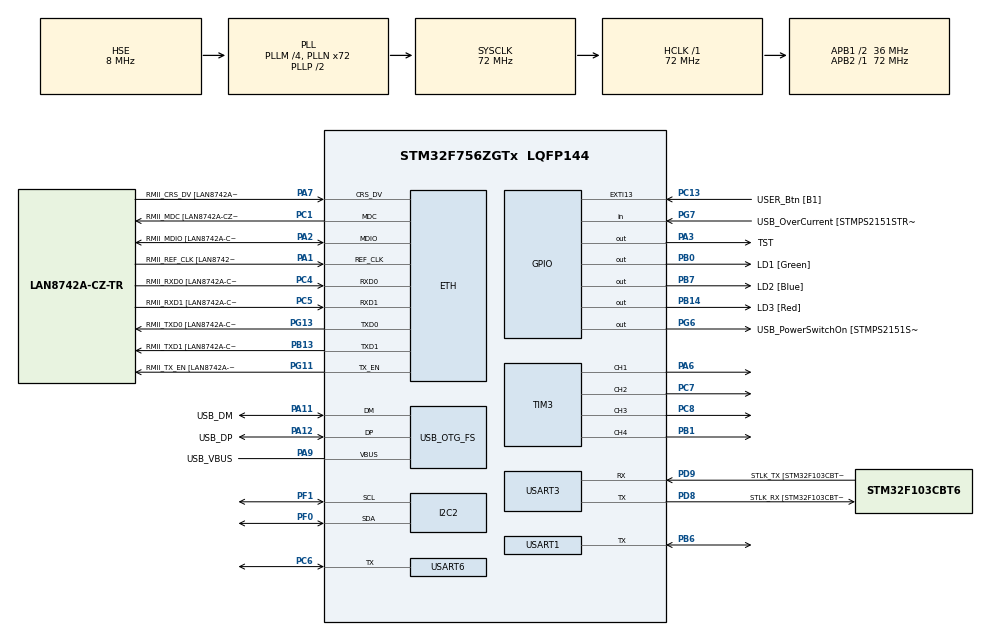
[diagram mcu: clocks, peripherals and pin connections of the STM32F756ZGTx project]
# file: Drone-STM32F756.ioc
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Dma.Request0=TIM3_CH1/TRIG
Dma.Request1=TIM3_CH2
Dma.Request2=TIM3_CH3
Dma.Request3=TIM3_CH4/UP
Dma.Request4=USART6_RX
Dma.Request5=USART6_TX
Dma.Request6=USART1_RX
Dma.Request7=USART1_TX
Dma.TIM3_CH1/TRIG.0.Direction=DMA_MEMORY_TO_PERIPH
Dma.TIM3_CH1/TRIG.0.FIFOMode=DMA_FIFOMODE_ENABLE
Dma.TIM3_CH1/TRIG.0.FIFOThreshold=DMA_FIFO_THRESHOLD_1QUARTERFULL
Dma.TIM3_CH1/TRIG.0.Instance=DMA1_Stream4
Dma.TIM3_CH1/TRIG.0.MemBurst=DMA_MBURST_SINGLE
Dma.TIM3_CH1/TRIG.0.MemDataAlignment=DMA_MDATAALIGN_WORD
Dma.TIM3_CH1/TRIG.0.MemInc=DMA_MINC_ENABLE
Dma.TIM3_CH1/TRIG.0.Mode=DMA_NORMAL
Dma.TIM3_CH1/TRIG.0.PeriphBurst=DMA_PBURST_SINGLE
Dma.TIM3_CH1/TRIG.0.PeriphDataAlignment=DMA_PDATAALIGN_WORD
Dma.TIM3_CH1/TRIG.0.PeriphInc=DMA_PINC_DISABLE
Dma.TIM3_CH1/TRIG.0.Priority=DMA_PRIORITY_LOW
Dma.TIM3_CH2.1.Direction=DMA_MEMORY_TO_PERIPH
Dma.TIM3_CH2.1.FIFOMode=DMA_FIFOMODE_ENABLE
Dma.TIM3_CH2.1.FIFOThreshold=DMA_FIFO_THRESHOLD_1QUARTERFULL
Dma.TIM3_CH2.1.Instance=DMA1_Stream5
Dma.TIM3_CH2.1.MemBurst=DMA_MBURST_SINGLE
Dma.TIM3_CH2.1.MemDataAlignment=DMA_MDATAALIGN_WORD
Dma.TIM3_CH2.1.MemInc=DMA_MINC_ENABLE
Dma.TIM3_CH2.1.Mode=DMA_NORMAL
Dma.TIM3_CH2.1.PeriphBurst=DMA_PBURST_SINGLE
Dma.TIM3_CH2.1.PeriphDataAlignment=DMA_PDATAALIGN_WORD
Dma.TIM3_CH2.1.PeriphInc=DMA_PINC_DISABLE
Dma.TIM3_CH2.1.Priority=DMA_PRIORITY_LOW
Dma.TIM3_CH3.2.Direction=DMA_MEMORY_TO_PERIPH
Dma.TIM3_CH3.2.FIFOMode=DMA_FIFOMODE_ENABLE
Dma.TIM3_CH3.2.FIFOThreshold=DMA_FIFO_THRESHOLD_1QUARTERFULL
Dma.TIM3_CH3.2.Instance=DMA1_Stream7
Dma.TIM3_CH3.2.MemBurst=DMA_MBURST_SINGLE
Dma.TIM3_CH3.2.MemDataAlignment=DMA_MDATAALIGN_WORD
Dma.TIM3_CH3.2.MemInc=DMA_MINC_ENABLE
Dma.TIM3_CH3.2.Mode=DMA_NORMAL
Dma.TIM3_CH3.2.PeriphBurst=DMA_PBURST_SINGLE
Dma.TIM3_CH3.2.PeriphDataAlignment=DMA_PDATAALIGN_WORD
Dma.TIM3_CH3.2.PeriphInc=DMA_PINC_DISABLE
Dma.TIM3_CH3.2.Priority=DMA_PRIORITY_LOW
Dma.TIM3_CH4/UP.3.Direction=DMA_MEMORY_TO_PERIPH
Dma.TIM3_CH4/UP.3.FIFOMode=DMA_FIFOMODE_ENABLE
Dma.TIM3_CH4/UP.3.FIFOThreshold=DMA_FIFO_THRESHOLD_1QUARTERFULL
Dma.TIM3_CH4/UP.3.Instance=DMA1_Stream2
Dma.TIM3_CH4/UP.3.MemBurst=DMA_MBURST_SINGLE
Dma.TIM3_CH4/UP.3.MemDataAlignment=DMA_MDATAALIGN_WORD
Dma.TIM3_CH4/UP.3.MemInc=DMA_MINC_ENABLE
Dma.TIM3_CH4/UP.3.Mode=DMA_NORMAL
Dma.TIM3_CH4/UP.3.PeriphBurst=DMA_PBURST_SINGLE
Dma.TIM3_CH4/UP.3.PeriphDataAlignment=DMA_PDATAALIGN_WORD
Dma.TIM3_CH4/UP.3.PeriphInc=DMA_PINC_DISABLE
Dma.TIM3_CH4/UP.3.Priority=DMA_PRIORITY_LOW
Dma.USART1_RX.6.Direction=DMA_PERIPH_TO_MEMORY
Dma.USART1_RX.6.FIFOMode=DMA_FIFOMODE_DISABLE
Dma.USART1_RX.6.Instance=DMA2_Stream2
Dma.USART1_RX.6.MemDataAlignment=DMA_MDATAALIGN_BYTE
Dma.USART1_RX.6.MemInc=DMA_MINC_ENABLE
Dma.USART1_RX.6.Mode=DMA_CIRCULAR
Dma.USART1_RX.6.PeriphDataAlignment=DMA_PDATAALIGN_BYTE
Dma.USART1_RX.6.PeriphInc=DMA_PINC_DISABLE
Dma.USART1_RX.6.Priority=DMA_PRIORITY_MEDIUM
Dma.USART1_TX.7.Direction=DMA_MEMORY_TO_PERIPH
Dma.USART1_TX.7.FIFOMode=DMA_FIFOMODE_DISABLE
Dma.USART1_TX.7.Instance=DMA2_Stream7
Dma.USART1_TX.7.MemDataAlignment=DMA_MDATAALIGN_BYTE
Dma.USART1_TX.7.MemInc=DMA_MINC_ENABLE
Dma.USART1_TX.7.Mode=DMA_NORMAL
Dma.USART1_TX.7.PeriphDataAlignment=DMA_PDATAALIGN_BYTE
Dma.USART1_TX.7.PeriphInc=DMA_PINC_DISABLE
Dma.USART1_TX.7.Priority=DMA_PRIORITY_MEDIUM
Dma.USART6_RX.4.Direction=DMA_PERIPH_TO_MEMORY
Dma.USART6_RX.4.FIFOMode=DMA_FIFOMODE_DISABLE
Dma.USART6_RX.4.Instance=DMA2_Stream1
Dma.USART6_RX.4.MemDataAlignment=DMA_MDATAALIGN_BYTE
Dma.USART6_RX.4.MemInc=DMA_MINC_ENABLE
Dma.USART6_RX.4.Mode=DMA_CIRCULAR
Dma.USART6_RX.4.PeriphDataAlignment=DMA_PDATAALIGN_BYTE
Dma.USART6_RX.4.PeriphInc=DMA_PINC_DISABLE
Dma.USART6_RX.4.Priority=DMA_PRIORITY_MEDIUM
Dma.USART6_TX.5.Direction=DMA_MEMORY_TO_PERIPH
Dma.USART6_TX.5.FIFOMode=DMA_FIFOMODE_DISABLE
Dma.USART6_TX.5.Instance=DMA2_Stream6
Dma.USART6_TX.5.MemDataAlignment=DMA_MDATAALIGN_BYTE
Dma.USART6_TX.5.MemInc=DMA_MINC_ENABLE
Dma.USART6_TX.5.Mode=DMA_CIRCULAR
Dma.USART6_TX.5.PeriphDataAlignment=DMA_PDATAALIGN_BYTE
Dma.USART6_TX.5.PeriphInc=DMA_PINC_DISABLE
Dma.USART6_TX.5.Priority=DMA_PRIORITY_MEDIUM
ETH.MediaInterface=HAL_ETH_RMII_MODE
ETH.PHY_Name=LAN8742A_PHY_ADDRESS
ETH.PHY_Value=0
ETH.PhyAddress=0
FREERTOS.Queues01=myQueue01,16,MSGQUEUE_OBJ_t,0,Dynamic,NULL,NULL;myQueue02,16,MSGQUEUE_OBJ_t,0,Dynamic,NULL,NULL
FREERTOS.Tasks01=defaultTask,8,128,StartDefaultTask,Default,NULL,Dynamic,NULL,NULL;fsIA6Task,24,128,StartFSIA6Task,Default,NULL,Dynamic,NULL,NULL;fsIA6TelemetryT,8,128,StartFSIA6TelemetryTask,Default,NULL,Dynamic,NULL,NULL
FREERTOS.configUSE_NEWLIB_REENTRANT=1
FREERTOS.configUSE_PREEMPTION=1
I2C2.Timing=0x00808CD2
Mcu.Family=STM32F7
Mcu.Name=STM32F756ZGTx
Mcu.Package=LQFP144
NVIC.DMA1_Stream2_IRQn=true\:5\:0\:false\:false\:true\:true\:false\:true\:true
NVIC.DMA1_Stream4_IRQn=true\:5\:0\:false\:false\:true\:true\:false\:true\:true
NVIC.DMA1_Stream5_IRQn=true\:5\:0\:false\:false\:true\:true\:false\:true\:true
NVIC.DMA1_Stream7_IRQn=true\:5\:0\:false\:false\:true\:true\:false\:true\:true
NVIC.DMA2_Stream1_IRQn=true\:5\:0\:false\:false\:true\:true\:false\:true\:true
NVIC.DMA2_Stream2_IRQn=true\:5\:0\:false\:false\:true\:true\:false\:true\:true
NVIC.DMA2_Stream6_IRQn=true\:5\:0\:false\:false\:true\:true\:false\:true\:true
NVIC.DMA2_Stream7_IRQn=true\:5\:0\:false\:false\:true\:true\:false\:true\:true
NVIC.OTG_FS_IRQn=true\:5\:0\:false\:false\:true\:true\:false\:true\:true
NVIC.PriorityGroup=NVIC_PRIORITYGROUP_4
NVIC.TIM6_DAC_IRQn=true\:1\:0\:true\:false\:true\:false\:false\:true\:true
NVIC.TimeBase=TIM6_DAC_IRQn
NVIC.TimeBaseIP=TIM6
NVIC.USART1_IRQn=true\:5\:0\:false\:false\:true\:true\:true\:true\:true
PA1.GPIO_Label=RMII_REF_CLK [LAN8742A-CZ-TR_REFCLK0]
PA1.Mode=RMII
PA1.Signal=ETH_REF_CLK
PA10.GPIO_Label=USB_ID
PA10.Signal=USB_OTG_FS_ID
PA11.GPIO_Label=USB_DM
PA11.Mode=Device_Only
PA11.Signal=USB_OTG_FS_DM
PA12.GPIO_Label=USB_DP
PA12.Mode=Device_Only
PA12.Signal=USB_OTG_FS_DP
PA13.GPIO_Label=TMS
PA13.Mode=Serial_Wire
PA13.Signal=SYS_JTMS-SWDIO
PA14.GPIO_Label=TCK
PA14.Mode=Serial_Wire
PA14.Signal=SYS_JTCK-SWCLK
PA2.GPIO_Label=RMII_MDIO [LAN8742A-CZ-TR_MDIO]
PA2.Mode=RMII
PA2.Signal=ETH_MDIO
PA3.GPIO_Label=TST
PA3.GPIO_Speed=GPIO_SPEED_FREQ_LOW
PA3.PinState=GPIO_PIN_SET
PA3.Signal=GPIO_Output
PA6.Signal=S_TIM3_CH1
PA7.GPIO_Label=RMII_CRS_DV [LAN8742A-CZ-TR_CRS_DV]
PA7.Mode=RMII
PA7.Signal=ETH_CRS_DV
PA8.GPIO_Label=USB_SOF [TP1]
PA8.Signal=USB_OTG_FS_SOF
PA9.GPIO_Label=USB_VBUS
PA9.Mode=Activate_VBUS
PA9.Signal=USB_OTG_FS_VBUS
PB0.GPIO_Label=LD1 [Green]
PB0.Signal=GPIO_Output
PB1.Signal=S_TIM3_CH4
PB13.GPIO_Label=RMII_TXD1 [LAN8742A-CZ-TR_TXD1]
PB13.Mode=RMII
PB13.Signal=ETH_TXD1
PB14.GPIO_Label=LD3 [Red]
PB14.Signal=GPIO_Output
PB3.GPIO_Label=SW0
PB3.Signal=SYS_JTDO-SWO
PB6.GPIO_PuPd=GPIO_NOPULL
PB6.Mode=Half_duplex(single_wire_mode)
PB6.Signal=USART1_TX
PB7.GPIO_Label=LD2 [Blue]
PB7.Signal=GPIO_Output
PC1.GPIO_Label=RMII_MDC [LAN8742A-CZ-TR_MDC]
PC1.Mode=RMII
PC1.Signal=ETH_MDC
PC13.GPIO_Label=USER_Btn [B1]
PC13.Signal=GPXTI13
PC14/OSC32_IN.Mode=LSE-External-Oscillator
PC14/OSC32_IN.Signal=RCC_OSC32_IN
PC15/OSC32_OUT.Mode=LSE-External-Oscillator
PC15/OSC32_OUT.Signal=RCC_OSC32_OUT
PC4.GPIO_Label=RMII_RXD0 [LAN8742A-CZ-TR_RXD0]
PC4.Mode=RMII
PC4.Signal=ETH_RXD0
PC5.GPIO_Label=RMII_RXD1 [LAN8742A-CZ-TR_RXD1]
PC5.Mode=RMII
PC5.Signal=ETH_RXD1
PC6.GPIO_PuPd=GPIO_NOPULL
PC6.Mode=Half_duplex(single_wire_mode)
PC6.Signal=USART6_TX
PC7.Signal=S_TIM3_CH2
PC8.Signal=S_TIM3_CH3
PD8.GPIO_Label=STLK_RX [STM32F103CBT6_PA3]
PD8.Mode=Asynchronous
PD8.Signal=USART3_TX
PD9.GPIO_Label=STLK_TX [STM32F103CBT6_PA2]
PD9.Mode=Asynchronous
PD9.Signal=USART3_RX
PF0.Mode=I2C
PF0.Signal=I2C2_SDA
PF1.Mode=I2C
PF1.Signal=I2C2_SCL
PG11.GPIO_Label=RMII_TX_EN [LAN8742A-CZ-TR_TXEN]
PG11.Mode=RMII
PG11.Signal=ETH_TX_EN
PG13.GPIO_Label=RMII_TXD0 [LAN8742A-CZ-TR_TXD0]
PG13.Mode=RMII
PG13.Signal=ETH_TXD0
PG6.GPIO_Label=USB_PowerSwitchOn [STMPS2151STR_EN]
PG6.Signal=GPIO_Output
PG7.GPIO_Label=USB_OverCurrent [STMPS2151STR_FAULT]
PG7.Signal=GPIO_Input
PH0/OSC_IN.GPIO_Label=MCO [STM32F103CBT6_PA8]
PH0/OSC_IN.Mode=HSE-External-Clock-Source
PH0/OSC_IN.Signal=RCC_OSC_IN
PH1/OSC_OUT.Mode=HSE-External-Clock-Source
PH1/OSC_OUT.Signal=RCC_OSC_OUT
ProjectManager.HeapSize=0x200
ProjectManager.StackSize=0x400
ProjectManager.TargetToolchain=STM32CubeIDE
RCC.48MHZClocksFreq_Value=24000000
RCC.AHBFreq_Value=72000000
RCC.APB1CLKDivider=RCC_HCLK_DIV2
RCC.APB1Freq_Value=36000000
RCC.APB1TimFreq_Value=72000000
RCC.APB2Freq_Value=72000000
RCC.APB2TimFreq_Value=72000000
RCC.CortexFreq_Value=72000000
RCC.HCLKFreq_Value=72000000
RCC.HSE_VALUE=8000000
RCC.HSI_VALUE=16000000
RCC.PLLM=4
RCC.PLLMUL=RCC_PLL_MUL9
RCC.PLLN=72
RCC.PLLQ=3
RCC.PRESCALERUSB=RCC_USBCLKSOURCE_PLL_DIV1_5
RCC.SYSCLKFreq_VALUE=72000000
RCC.SYSCLKSource=RCC_SYSCLKSOURCE_PLLCLK
RCC.SYSCLKSourceVirtual=RCC_SYSCLKSOURCE_PLLCLK
RCC.USBFreq_Value=48000000
RCC.VCOOutputFreq_Value=144000000
SH.S_TIM3_CH1.0=TIM3_CH1,PWM Generation1 CH1
SH.S_TIM3_CH2.0=TIM3_CH2,PWM Generation2 CH2
SH.S_TIM3_CH3.0=TIM3_CH3,PWM Generation3 CH3
SH.S_TIM3_CH4.0=TIM3_CH4,PWM Generation4 CH4
TIM3.Channel-PWM\ Generation1\ CH1=TIM_CHANNEL_1
TIM3.Channel-PWM\ Generation2\ CH2=TIM_CHANNEL_2
TIM3.Channel-PWM\ Generation3\ CH3=TIM_CHANNEL_3
TIM3.Channel-PWM\ Generation4\ CH4=TIM_CHANNEL_4
USART1.DMADisableonRxErrorParam=ADVFEATURE_DMA_ENABLEONRXERROR
USART1.OverrunDisableParam=ADVFEATURE_OVERRUN_ENABLE
USART1.VirtualMode-Half_duplex(single_wire_mode)=VM_ASYNC
USART3.VirtualMode-Asynchronous=VM_ASYNC
USART6.OverrunDisableParam=ADVFEATURE_OVERRUN_ENABLE
USART6.VirtualMode-Half_duplex(single_wire_mode)=VM_ASYNC
USB_DEVICE.CLASS_NAME_FS=CDC
USB_DEVICE.VirtualMode-CDC_FS=Cdc
USB_DEVICE.VirtualModeFS=Cdc_FS
USB_OTG_FS.VirtualMode=Device_Only
VP_FREERTOS_VS_CMSIS_V2.Mode=CMSIS_V2
VP_SYS_VS_tim6.Mode=TIM6
VP_USB_DEVICE_VS_USB_DEVICE_CDC_FS.Mode=CDC_FS
board=NUCLEO-F756ZG

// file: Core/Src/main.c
/* USER CODE BEGIN Header */
/**
  ******************************************************************************
  * @file           : main.c
  * @brief          : Main program body
  ******************************************************************************
  * @attention
  *
  * Copyright (c) 2024 STMicroelectronics.
  * All rights reserved.
  *
  * This software is licensed under terms that can be found in the LICENSE file
  * in the root directory of this software component.
  * If no LICENSE file comes with this software, it is provided AS-IS.
  *
  ******************************************************************************
  */
/* USER CODE END Header */
#include "main.h"
#include "cmsis_os.h"
#include "dma.h"
#include "eth.h"
#include "i2c.h"
#include "tim.h"
#include "usart.h"
#include "usb_device.h"
#include "gpio.h"

/* USER CODE BEGIN Includes */
#include <stdio.h>
/* USER CODE END Includes */

void SystemClock_Config(void);
void MX_FREERTOS_Init(void);
/* USER CODE BEGIN PFP */
extern void initialise_monitor_handles(void);
extern hwtimer_t timHandle;
/* USER CODE END PFP */

int main(void)
{

  /* USER CODE BEGIN 1 */
/*#ifdef DEBUG
#warning "DEBUG uses printf and semihosting!"
  if(CoreDebug->DHCSR & 0x01)
    initialise_monitor_handles(); // remove when not semi-hosting
#endif*/
  initialise_monitor_handles(); // remove when not semi-hosting
  /* USER CODE END 1 */

  /* MCU Configuration--------------------------------------------------------*/

  /* Reset of all peripherals, Initializes the Flash interface and the Systick. */
  HAL_Init();

  /* Configure the system clock */
  SystemClock_Config();

  /* Initialize all configured peripherals */
  MX_GPIO_Init();
  MX_DMA_Init();
  MX_USART3_UART_Init();
  MX_TIM3_Init();
  MX_ETH_Init();
  MX_I2C2_Init();
  MX_USART6_UART_Init();
  MX_USART1_UART_Init();
  /* USER CODE BEGIN 2 */
  initCycleTimer(&timHandle);
  /* USER CODE END 2 */

  /* Init scheduler */
  osKernelInitialize();

  /* Call init function for freertos objects (in cmsis_os2.c) */
  MX_FREERTOS_Init();

  /* Start scheduler */
  osKernelStart();

  /* We should never get here as control is now taken by the scheduler */

  /* Infinite loop */
  while (1)
  {

  }
}

void SystemClock_Config(void)
{
  RCC_OscInitTypeDef RCC_OscInitStruct = {0};
  RCC_ClkInitTypeDef RCC_ClkInitStruct = {0};

  /** Configure LSE Drive Capability
  */
  HAL_PWR_EnableBkUpAccess();

  /** Configure the main internal regulator output voltage
  */
  __HAL_RCC_PWR_CLK_ENABLE();
  __HAL_PWR_VOLTAGESCALING_CONFIG(PWR_REGULATOR_VOLTAGE_SCALE3);

  /** Initializes the RCC Oscillators according to the specified parameters
  * in the RCC_OscInitTypeDef structure.
  */
  RCC_OscInitStruct.OscillatorType = RCC_OSCILLATORTYPE_HSE;
  RCC_OscInitStruct.HSEState = RCC_HSE_BYPASS;
  RCC_OscInitStruct.PLL.PLLState = RCC_PLL_ON;
  RCC_OscInitStruct.PLL.PLLSource = RCC_PLLSOURCE_HSE;
  RCC_OscInitStruct.PLL.PLLM = 4;
  RCC_OscInitStruct.PLL.PLLN = 72;
  RCC_OscInitStruct.PLL.PLLP = RCC_PLLP_DIV2;
  RCC_OscInitStruct.PLL.PLLQ = 3;
  if (HAL_RCC_OscConfig(&RCC_OscInitStruct) != HAL_OK)
  {
    Error_Handler();
  }

  /** Initializes the CPU, AHB and APB buses clocks
  */
  RCC_ClkInitStruct.ClockType = RCC_CLOCKTYPE_HCLK|RCC_CLOCKTYPE_SYSCLK
                              |RCC_CLOCKTYPE_PCLK1|RCC_CLOCKTYPE_PCLK2;
  RCC_ClkInitStruct.SYSCLKSource = RCC_SYSCLKSOURCE_PLLCLK;
  RCC_ClkInitStruct.AHBCLKDivider = RCC_SYSCLK_DIV1;
  RCC_ClkInitStruct.APB1CLKDivider = RCC_HCLK_DIV2;
  RCC_ClkInitStruct.APB2CLKDivider = RCC_HCLK_DIV1;

  if (HAL_RCC_ClockConfig(&RCC_ClkInitStruct, FLASH_LATENCY_2) != HAL_OK)
  {
    Error_Handler();
  }
}

void HAL_TIM_PeriodElapsedCallback(TIM_HandleTypeDef *htim)
{
  /* USER CODE BEGIN Callback 0 */
  timerISR(&timHandle);
  /* USER CODE END Callback 0 */
  if (htim->Instance == TIM6) {
    HAL_IncTick();
  }
}

void Error_Handler(void)
{
  __disable_irq();
  while (1)
  {
  }
}

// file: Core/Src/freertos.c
/* USER CODE BEGIN Header */
/**
  ******************************************************************************
  * File Name          : freertos.c
  * Description        : Code for freertos applications
  ******************************************************************************
  * @attention
  *
  * Copyright (c) 2024 STMicroelectronics.
  * All rights reserved.
  *
  * This software is licensed under terms that can be found in the LICENSE file
  * in the root directory of this software component.
  * If no LICENSE file comes with this software, it is provided AS-IS.
  *
  ******************************************************************************
  */
/* USER CODE END Header */

#include "FreeRTOS.h"
#include "task.h"
#include "main.h"
#include "cmsis_os.h"

/* USER CODE BEGIN Includes */
#include "stm32f7xx_hal.h"
#include "device_protocol.h"
#include "tim.h"
#include "i2c.h"
#include "usart.h"
#include "dma.h"
#include "sensor_icm20948.h"
//#include "sensor_icp10101.h"
#include "protocol_dshot.h"
#include "protocol_ibus.h"
#include "Fusion/Fusion.h"
#include <time.h>
/* USER CODE END Includes */

/* USER CODE BEGIN PD */
#define SAMPLE_RATE (100) // replace this with actual sample rate
#define FS_IA6B_DATA_BUFSIZE 32
/* USER CODE END PD */

/* USER CODE BEGIN Variables */

/* Hardware timer */
hwtimer_t timHandle;

/* Ibus handlers */
ibus_t fsIa6b;
uint8_t fsIabRecvBuf[32];
uint8_t fsIabSendBuf[32];

ibus_t fsIa6bSensor;
uint8_t fsIabSensorRecvBuf[32];
uint8_t fsIabSensorSendBuf[32];

uint8_t recv;

/* Message queue object */
typedef struct
{
  uint8_t Buf[32];
  uint8_t Idx;
} MSGQUEUE_OBJ_t;

FusionVector gyroscope = {0.0f, 0.0f, 0.0f}; // replace this with actual gyroscope data in degrees/s
FusionVector accelerometer = {0.0f, 0.0f, 1.0f}; // replace this with actual accelerometer data in g
FusionVector magnetometer = {1.0f, 0.0f, 0.0f}; // replace this with actual magnetometer data in arbitrary units

// Initialise algorithms
FusionOffset offset;
FusionAhrs ahrs;

// Define calibration
const FusionMatrix gyroscopeMisalignment = {1.0f, 0.0f, 0.0f, 0.0f, 1.0f, 0.0f, 0.0f, 0.0f, 1.0f};
const FusionVector gyroscopeSensitivity = {1.0f, 1.0f, 1.0f};
const FusionVector gyroscopeOffset = {0.0f, 0.0f, 0.0f}; // same as bias
const FusionMatrix accelerometerMisalignment = {1.0f, 0.0f, 0.0f, 0.0f, 1.0f, 0.0f, 0.0f, 0.0f, 1.0f};
const FusionVector accelerometerSensitivity = {1.0f, 1.0f, 1.0f};
const FusionVector accelerometerOffset = {0.0f, 0.0f, 0.0f}; // same as bias
const FusionMatrix softIronMatrix = {1.0f, 0.0f, 0.0f, 0.0f, 1.0f, 0.0f, 0.0f, 0.0f, 1.0f};
const FusionVector hardIronOffset = {0.0f, 0.0f, 0.0f};

// Set AHRS algorithm settings
const FusionAhrsSettings settings = {
  .convention = FusionConventionNwu,
  .gain = 0.5f,
  .gyroscopeRange = 2000.0f, /* replace this with actual gyroscope range in degrees/s */
  .accelerationRejection = 10.0f,
  .magneticRejection = 10.0f,
  .recoveryTriggerPeriod = 5 * SAMPLE_RATE, /* 5 seconds */
  };

/* USER CODE END Variables */
/* Definitions for defaultTask */
osThreadId_t defaultTaskHandle;
const osThreadAttr_t defaultTask_attributes = {
  .name = "defaultTask",
  .stack_size = 128 * 4,
  .priority = (osPriority_t) osPriorityLow,
};
/* Definitions for fsIA6Task */
osThreadId_t fsIA6TaskHandle;
const osThreadAttr_t fsIA6Task_attributes = {
  .name = "fsIA6Task",
  .stack_size = 128 * 4,
  .priority = (osPriority_t) osPriorityNormal,
};
/* Definitions for fsIA6TelemetryT */
osThreadId_t fsIA6TelemetryTHandle;
const osThreadAttr_t fsIA6TelemetryT_attributes = {
  .name = "fsIA6TelemetryT",
  .stack_size = 128 * 4,
  .priority = (osPriority_t) osPriorityLow,
};
/* Definitions for myQueue01 */
osMessageQueueId_t myQueue01Handle;
const osMessageQueueAttr_t myQueue01_attributes = {
  .name = "myQueue01"
};
/* Definitions for myQueue02 */
osMessageQueueId_t myQueue02Handle;
const osMessageQueueAttr_t myQueue02_attributes = {
  .name = "myQueue02"
};

/* USER CODE BEGIN FunctionPrototypes */
static void log_message(int level, const char * str, va_list ap);
int i2c_read(void* context, uint8_t reg, uint8_t* rbuffer, uint32_t rlen);
int i2c_write(void * context, uint8_t reg, const uint8_t * wbuffer, uint32_t wlen);
bool ibusReadData(uint8_t* data, uint32_t size);
bool ibusWriteData(uint8_t* data, uint32_t size);
bool ibusDataReceived(uint8_t* data, uint32_t size);
bool ibusReadDataSensor(uint8_t* data, uint32_t size);
bool ibusWriteDataSensor(uint8_t* data, uint32_t size);
bool ibusDataReceivedSensor(uint8_t* data, uint32_t size);
/* USER CODE END FunctionPrototypes */

void StartDefaultTask(void *argument);
void StartFSIA6Task(void *argument);
void StartFSIA6TelemetryTask(void *argument);

extern void MX_USB_DEVICE_Init(void);
void MX_FREERTOS_Init(void); /* (MISRA C 2004 rule 8.1) */

void MX_FREERTOS_Init(void) {

  /* Create the queue(s) */
  /* creation of myQueue01 */
  myQueue01Handle = osMessageQueueNew (16, sizeof(MSGQUEUE_OBJ_t), &myQueue01_attributes);

  /* creation of myQueue02 */
  myQueue02Handle = osMessageQueueNew (16, sizeof(MSGQUEUE_OBJ_t), &myQueue02_attributes);

  /* Create the thread(s) */
  /* creation of defaultTask */
  defaultTaskHandle = osThreadNew(StartDefaultTask, NULL, &defaultTask_attributes);

  /* creation of fsIA6Task */
  fsIA6TaskHandle = osThreadNew(StartFSIA6Task, NULL, &fsIA6Task_attributes);

  /* creation of fsIA6TelemetryT */
  fsIA6TelemetryTHandle = osThreadNew(StartFSIA6TelemetryTask, NULL, &fsIA6TelemetryT_attributes);

}

void StartDefaultTask(void *argument)
{
  /* init code for USB_DEVICE */
  MX_USB_DEVICE_Init();
  /* USER CODE BEGIN StartDefaultTask */
  // inv_invpres_t s;
  // s.init.context = 0; /* no need */
  // s.init.read_callback  = i2c_read;
  // s.init.write_callback = i2c_write;
  // s.init.delay_ms = delay_ms;
  // s.init.delay_us = delay_us;
  // s.init.log = log_message;
  // s.init.is_spi = false;
  // initICM20948(&s);

  // FusionOffsetInitialise(&offset, SAMPLE_RATE);
  // FusionAhrsInitialise(&ahrs);
  // FusionAhrsSetSettings(&ahrs, &settings);

  /* Infinite loop */
  for(;;)
  {
    /*portDISABLE_INTERRUPTS();
    HAL_GPIO_WritePin(TST_GPIO_Port, TST_Pin, GPIO_PIN_SET);
    delayUs(&timHandle, 100);
    HAL_GPIO_WritePin(TST_GPIO_Port, TST_Pin, GPIO_PIN_RESET);
    portENABLE_INTERRUPTS();*/

    //icm20948_poll_data();

    //__HAL_UART_CLEAR_PEFLAG(&huart1);

    // Acquire latest sensor data
    /*const clock_t timestamp = clock(); // replace this with actual gyroscope timestamp

    // Apply calibration
    gyroscope = FusionCalibrationInertial(gyroscope, gyroscopeMisalignment, gyroscopeSensitivity, gyroscopeOffset);
    accelerometer = FusionCalibrationInertial(accelerometer, accelerometerMisalignment, accelerometerSensitivity, accelerometerOffset);
    magnetometer = FusionCalibrationMagnetic(magnetometer, softIronMatrix, hardIronOffset);

    // Update gyroscope offset correction algorithm
    gyroscope = FusionOffsetUpdate(&offset, gyroscope);

    // Calculate delta time (in seconds) to account for gyroscope sample clock error
    static clock_t previousTimestamp;
    const float deltaTime = (float) (timestamp - previousTimestamp) / (float) CLOCKS_PER_SEC;
    previousTimestamp = timestamp;

    // Update gyroscope AHRS algorithm
    FusionAhrsUpdate(&ahrs, gyroscope, accelerometer, magnetometer, deltaTime);

    // Print algorithm outputs
    const FusionEuler euler = FusionQuaternionToEuler(FusionAhrsGetQuaternion(&ahrs));
    const FusionVector earth = FusionAhrsGetEarthAcceleration(&ahrs);

    printf("Roll %0.1f, Pitch %0.1f, Yaw %0.1f, X %0.1f, Y %0.1f, Z %0.1f\n",
               euler.angle.roll, euler.angle.pitch, euler.angle.yaw,
               earth.axis.x, earth.axis.y, earth.axis.z);*/

    osDelay(10);
  }
  /* USER CODE END StartDefaultTask */
}

void StartFSIA6Task(void *argument)
{
  /* USER CODE BEGIN StartFSIA6Task */

  // Initialize ibus
  ibusConfig_t fsIa6bConfig;
  fsIa6bConfig.ReadData = ibusReadData;
  fsIa6bConfig.WriteData = ibusWriteData;
  fsIa6bConfig.ReceivedData = ibusDataReceived;
  ibusInit(&fsIa6b, &fsIa6bConfig);

  MSGQUEUE_OBJ_t msg;
  osStatus_t status;

  /* Infinite loop */
  for(;;)
  {
    status = osMessageQueueGet(myQueue02Handle, &msg, NULL, 0U);   // wait for message
    if (status == osOK)
    {
       // Print channels
      printf("CH%d: %d", 0, (int)fsIa6b.ibusChannelData[0]);
      for (int i = 1; i < IBUS_MAX_CHANNEL; i++) {
        printf(", CH%d: %d", i, (int)fsIa6b.ibusChannelData[i]);
      }
      printf("\n");
    }
    osDelay(1);
  }
  /* USER CODE END StartFSIA6Task */
}

void StartFSIA6TelemetryTask(void *argument)
{
  /* USER CODE BEGIN StartFSIA6TelemetryTask */

  // Initialize ibus
  ibusConfig_t fsIa6bConfig;
  fsIa6bConfig.ReadData = ibusReadDataSensor;
  fsIa6bConfig.WriteData = ibusWriteDataSensor;
  fsIa6bConfig.ReceivedData = ibusDataReceivedSensor;
  ibusInit(&fsIa6bSensor, &fsIa6bConfig);

  // Start receiving DMA (circular buffer)
  HAL_UART_Receive_DMA(&huart1, &recv, 1);

  MSGQUEUE_OBJ_t msg;
  osStatus_t status;

  /* Infinite loop */
  for(;;)
  {
    status = osMessageQueueGet(myQueue01Handle, &msg, NULL, 0U);   // wait for message
    if (status == osOK)
    {
      ibusTelemetry(&fsIa6bSensor, msg.Buf);
    }
  }
  /* USER CODE END StartFSIA6TelemetryTask */
}

/* USER CODE BEGIN Application */
void HAL_UART_RxCpltCallback(UART_HandleTypeDef *huart)
{
  uint32_t us = microsISR(&timHandle);
  if (huart->Instance == USART6) {
    ibusProcessDataISR(&fsIa6b, recv, us);
  } else if (huart->Instance == USART1) {
    ibusProcessDataISR(&fsIa6bSensor, recv, us);
  }
}

/// @brief
/// @param huart
void HAL_UART_TxCpltCallback(UART_HandleTypeDef *huart)
{
	if(huart->Instance == USART1)
	{
    HAL_HalfDuplex_EnableReceiver(&huart1);
	}
}

/// @brief
/// @param huart
void HAL_UART_RxHalfCpltCallback(UART_HandleTypeDef *huart)
{
	if(huart->Instance == USART1)
	{
    printf("Half complete occurring\n");
	}
}

/// @brief
/// @param huart
void HAL_UART_AbortCpltCallback(UART_HandleTypeDef *huart)
{
  if(huart->Instance == USART1)
	{
    printf("Abort complete!\n");
	}
}

/// @brief
/// @param huart
void HAL_UART_AbortReceiveCpltCallback(UART_HandleTypeDef *huart)
{
  if(huart->Instance == USART1)
	{
    printf("Abort receive!\n");
	}
}

/// @brief
/// @param huart
void HAL_UART_ErrorCallback(UART_HandleTypeDef *huart)
{
  if (huart->Instance == USART6)
  {
    if (huart->ErrorCode & HAL_UART_ERROR_PE) {
      // parity error
      printf("USART6 - Parity error\n");
    }
    if (huart->ErrorCode & HAL_UART_ERROR_NE) {
      // noise error
      printf("USART6 - Noise error\n");
    }
    if (huart->ErrorCode & HAL_UART_ERROR_FE) {
      // frame error
      printf("USART6 - Frame error\n");
    }
    if (huart->ErrorCode & HAL_UART_ERROR_ORE) {
      // clear overrun error
      __HAL_UART_CLEAR_OREFLAG(&huart6);

      // restart transmission
      HAL_HalfDuplex_EnableReceiver(&huart6);
      HAL_UART_Receive_DMA(&huart6, &recv, 1);
    }
    if (huart->ErrorCode & HAL_UART_ERROR_DMA) {
      // dma error
      printf("USART6 - DMA error\n");
    }
    if (huart->ErrorCode & HAL_UART_ERROR_RTO) {
      // receive timeout error
      printf("USART6 - RTO error\n");
    }
  }
  else if (huart->Instance == USART1)
  {
    if (huart->ErrorCode & HAL_UART_ERROR_PE) {
      // parity error
      printf("USART1 - Parity error\n");
    }
    if (huart->ErrorCode & HAL_UART_ERROR_NE) {
      // noise error
      printf("USART1 - Noise error\n");
    }
    if (huart->ErrorCode & HAL_UART_ERROR_FE) {
      // frame error
      printf("USART1 - Frame error\n");
    }
    if (huart->ErrorCode & HAL_UART_ERROR_ORE) {
      // clear overrun error
      __HAL_UART_CLEAR_OREFLAG(&huart1);

      // restart transmission
      HAL_HalfDuplex_EnableReceiver(&huart1);
      HAL_UART_Receive_DMA(&huart1, &recv, 1);
    }
    if (huart->ErrorCode & HAL_UART_ERROR_DMA) {
      // dma error
      printf("USART1 - DMA error\n");
    }
    if (huart->ErrorCode & HAL_UART_ERROR_RTO) {
      // receive timeout error
      printf("USART1 - RTO error\n");
    }
  }
}

/// @brief
/// @param data
/// @param size
/// @return
bool ibusReadData(uint8_t* data, uint32_t size)
{
  HAL_HalfDuplex_EnableReceiver(&huart6);
  HAL_UART_Receive_DMA(&huart6, data, size);

  return true;
}

/// @brief
/// @param data
/// @param size
/// @return
bool ibusWriteData(uint8_t* data, uint32_t size)
{
  HAL_HalfDuplex_EnableTransmitter(&huart6);
  HAL_UART_Transmit_DMA(&huart6, data, size);

  return true;
}

/// @brief
/// @param data
/// @param size
/// @return
bool ibusReadDataSensor(uint8_t* data, uint32_t size)
{
  HAL_HalfDuplex_EnableReceiver(&huart1);
  HAL_UART_Receive_DMA(&huart1, &recv, size);

  return true;
}

/// @brief
/// @param data
/// @param size
/// @return
bool ibusWriteDataSensor(uint8_t* data, uint32_t size)
{
  HAL_HalfDuplex_EnableTransmitter(&huart1);
  HAL_UART_Transmit_DMA(&huart1, data, size);

  return true;
}

/// @brief
/// @param ibus
/// @return
bool ibusDataReceived(uint8_t* data, uint32_t size)
{
  MSGQUEUE_OBJ_t msg;
  msg.Idx = 0U;
  memcpy(msg.Buf, data, size);
  osMessageQueuePut(myQueue01Handle, &msg, 0U, 0U);

  return true;
}

/// @brief
/// @param ibus
/// @return
bool ibusDataReceivedSensor(uint8_t* data, uint32_t size)
{
  MSGQUEUE_OBJ_t msg;
  msg.Idx = 0U;
  memcpy(msg.Buf, data, size);
  osMessageQueuePut(myQueue01Handle, &msg, 0U, 0U);

  return true;
}

/// @brief
/// @param context
/// @param reg
/// @param rbuffer
/// @param rlen
/// @return
int i2c_read(void* context, uint8_t reg, uint8_t* rbuffer, uint32_t rlen) {
	(void)context;

	HAL_I2C_Master_Transmit(&hi2c2, ICM_I2C_ADDR_REVB << 1, &reg, 1, 0xff);
	HAL_StatusTypeDef retVal = HAL_I2C_Master_Receive(&hi2c2, ICM_I2C_ADDR_REVB << 1, rbuffer, rlen, 2000);
	return retVal;
}

/// @brief
/// @param context
/// @param reg
/// @param wbuffer
/// @param wlen
/// @return
int i2c_write(void * context, uint8_t reg, const uint8_t * wbuffer, uint32_t wlen) {
	(void)context;

  uint8_t data[wlen + 1];
	data[0] = reg;
	for (uint32_t i = 0; i < wlen; i++) {
		data[i + 1] = wbuffer[i];
	}

	HAL_StatusTypeDef retVal = HAL_I2C_Master_Transmit(&hi2c2, ICM_I2C_ADDR_REVB << 1, data, wlen + 1, 2000);
	return retVal;
}

/// @brief Printer function for message facility
/// @param level
/// @param str
/// @param ap
static void log_message(int level, const char * str, va_list ap) {
	static char out_str[256]; /* static to limit stack usage */
	unsigned idx = 0;
	const char * ptr = out_str;
	const char * s[6] = {
		"",    // INV_MSG_LEVEL_OFF
		"[E] ", // INV_MSG_LEVEL_ERROR
		"[W] ", // INV_MSG_LEVEL_WARNING
		"[I] ", // INV_MSG_LEVEL_INFO
		"[V] ", // INV_MSG_LEVEL_VERBOSE
		"[D] ", // INV_MSG_LEVEL_DEBUG
	};

	idx += snprintf(&out_str[idx], sizeof(out_str) - idx, "%s", s[level]);
	if(idx >= (sizeof(out_str)))
		return;
	idx += vsnprintf(&out_str[idx], sizeof(out_str) - idx, str, ap);
	if(idx >= (sizeof(out_str)))
		return;
	idx += snprintf(&out_str[idx], sizeof(out_str) - idx, "\r\n");
	if(idx >= (sizeof(out_str)))
		return;

	printf(ptr);
}

    /*static uint32_t ibusTimeLast;
    static uint8_t ibusFramePosition;

    const uint32_t now = microsISR(&timHandle);

    int d = now - ibusTimeLast;
    if (d > IBUS_FRAME_GAP) {
       ibusFramePosition = 0;
       fsIa6bSensor.rxBytesToIgnore = 0;
    } else if (fsIa6bSensor.rxBytesToIgnore) {
        fsIa6bSensor.rxBytesToIgnore--;
        return;
    }

    ibusTimeLast = now;

    if (ibusFramePosition == 0) {
        if (ibusIsValidIa6bIbusPacketLength(c)) {
            fsIa6bSensor.ibusModel = IBUS_MODEL_IA6B;
            fsIa6bSensor.ibusSyncByte = c;
            fsIa6bSensor.ibusFrameSize = c;
            fsIa6bSensor.ibusChannelOffset = 2;
            fsIa6bSensor.ibusChecksum = 0xFFFF;
        } else if ((fsIa6bSensor.ibusSyncByte == 0) && (c == 0x55)) {
            fsIa6bSensor.ibusModel = IBUS_MODEL_IA6;
            fsIa6bSensor.ibusSyncByte = 0x55;
            fsIa6bSensor.ibusFrameSize = 31;
            fsIa6bSensor.ibusChecksum = 0x0000;
            fsIa6bSensor.ibusChannelOffset = 1;
        } else if ( fsIa6bSensor.ibusSyncByte != c) {
            return;
        }
    }

    fsIa6bSensor.data[ibusFramePosition] = (uint8_t)c;

    if (ibusFramePosition == fsIa6bSensor.ibusFrameSize - 1) {
        fsIa6bSensor.lastFrameTimeUs = now;
        fsIa6bSensor.ibusFrameDone = true;

        MSGQUEUE_OBJ_t msg;
        for (int i = 0; i < 32; i++) {
          msg.Buf[i] = fsIa6bSensor.data[i];
        }
        msg.Idx = 0U;
        osMessageQueuePut(myQueue01Handle, &msg, 0U, 0U);
    } else {
        ibusFramePosition++;
    }*/
/* USER CODE END Application */
